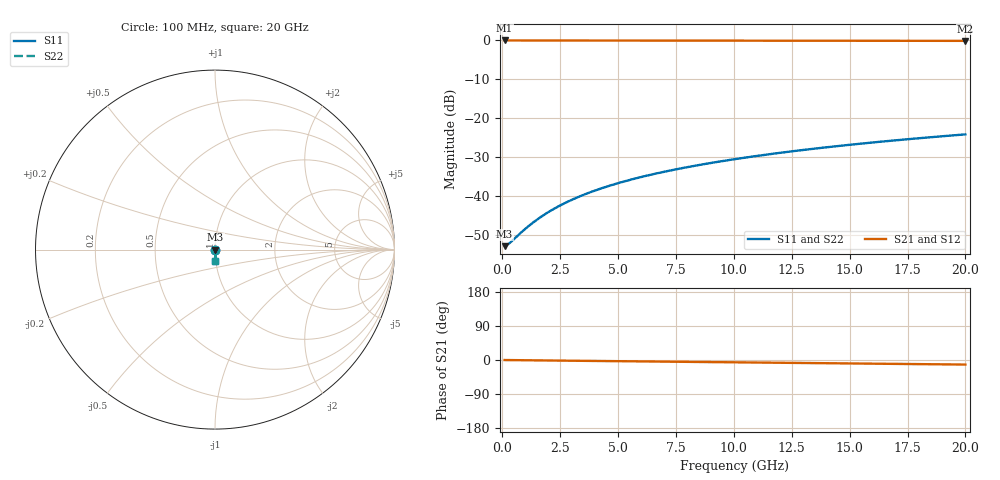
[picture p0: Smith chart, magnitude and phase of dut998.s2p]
! Touchstone file exported from HFSS 2026.1.0
!  File:  C:/ffzhzh/LocalFiles/Ansys_Project_Files/temp_train_BSMRDL_998_1783173058_18472.aedt
!  Generated:  09:52:05 PM Jul  4, 2026
!  Design:  BSMRDL
!  Project:  temp_train_BSMRDL_998_1783173058_18472
! Variables:
!  h_bsmrdl = 2.49um
!  h_ox = 20um
!  h_rdl = 5um
!  h_sub = 80um
!  h_tmrdl = 5um
!  h_tsv = 80um
!  h_via = 3um
!  l_bsmrdl = 195.35um
!  l_sub = 595.35um
!  l_tmrdl = 200um
!  m_sub = 200um
!  pitch = 15.15um
!  r_tsv = 6um
!  s_tmrdl = 10um
!  w_bsmrdl = 14.04um
!  w_sub = 500um
!  w_tmrdl = 12um
!  x_tsv_center1 = 206um
!  x_tsv_center2 = 415.39um
!  x_tsv_center3 = 627.39um
!  x_tsv_center4 = 836.78um
!  x_tsv_center5 = 1048.78um
!  x_tsv_center6 = 1258.17um
# GHz S MA R 50.000000
! Terminal data exported
! Port[1] = BSM_RDL1_1_T1
! Port[2] = BSM_RDL1_1_T2
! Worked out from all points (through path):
!   200 points, 100 MHz to 20 GHz, reference 50 ohm
!   highest |S21| = -0.02 dB at 100 MHz (marker M1); lowest = -0.1 dB at 20 GHz (marker M2)
!   group delay of S21, straight-line fit = 1.66 ps
!   lowest |S11| = -52.9 dB at 100 MHz (marker M3), VSWR 1.00, Z = 50.2 - j0.00227 ohm
!   |S11| at or under -10 dB: start of sweep to end of sweep
!   |S22| runs from -52.9 to -24.2 dB; largest |S21 - S12| = 8.5e-15
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0.1  0.002252 -0.6  0.9977 -0.1  0.9977 -0.1  0.002252 -0.6
! Gamma 0 0 0 0
! Port Impedance 50 0 50 0
0.2  0.00233 -1.5  0.9977 -0.2  0.9977 -0.2  0.00233 -1.5
0.3  0.002448 -3.1  0.9976 -0.2  0.9976 -0.2  0.002448 -3.1
0.9  0.003565 -20.4  0.9966 -0.6  0.9966 -0.6  0.003565 -20.4
1.2  0.004232 -29.1  0.9963 -0.8  0.9963 -0.8  0.004233 -29.1
1.5  0.004943 -36.5  0.996 -1.0  0.996 -1.0  0.004944 -36.5
1.8  0.005689 -42.6  0.9957 -1.2  0.9957 -1.2  0.00569 -42.6
2.2  0.006726 -49.1  0.9955 -1.4  0.9955 -1.4  0.006727 -49.1
2.6  0.007796 -54.2  0.9952 -1.7  0.9952 -1.7  0.007798 -54.1
3  0.008891 -58.2  0.995 -1.9  0.995 -1.9  0.008892 -58.2
3.5  0.01028 -62.3  0.9948 -2.2  0.9948 -2.2  0.01028 -62.2
4.2  0.01226 -66.5  0.9945 -2.6  0.9945 -2.6  0.01227 -66.5
5  0.01456 -70.2  0.9942 -3.1  0.9942 -3.1  0.01456 -70.2
5.9  0.01718 -73.2  0.9939 -3.7  0.9939 -3.7  0.01719 -73.2
6.8  0.01984 -75.6  0.9935 -4.2  0.9935 -4.2  0.01984 -75.6
8.3  0.02433 -78.6  0.9928 -5.1  0.9928 -5.1  0.02434 -78.5
10.1  0.02984 -81.2  0.9918 -6.2  0.9918 -6.2  0.02985 -81.2
11.7  0.03484 -83.2  0.9909 -7.2  0.9909 -7.2  0.03485 -83.1
13.4  0.04023 -84.9  0.99 -8.2  0.99 -8.2  0.04024 -84.9
15  0.04537 -86.5  0.989 -9.1  0.989 -9.1  0.04538 -86.4
16.7  0.05089 -88.0  0.9879 -10.1  0.9879 -10.1  0.05091 -87.9
20  0.06173 -90.7  0.9858 -12.1  0.9858 -12.1  0.06176 -90.6
